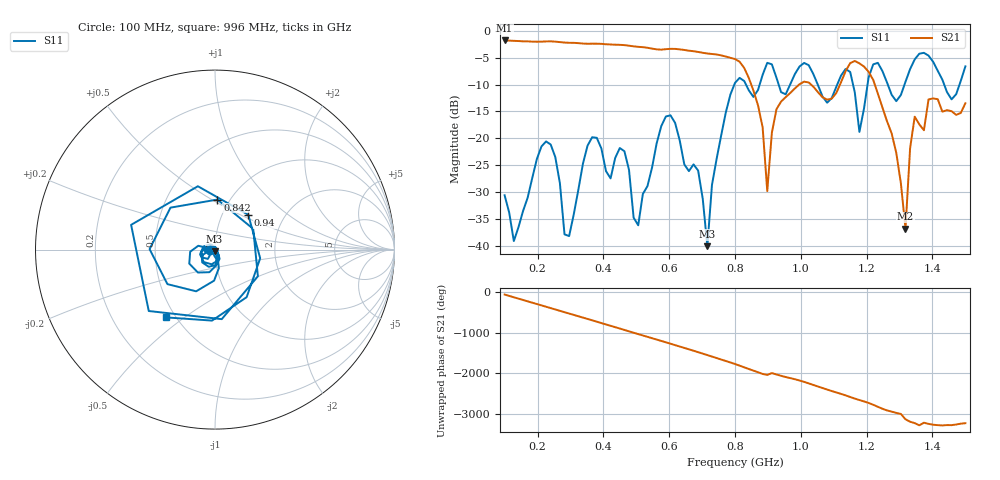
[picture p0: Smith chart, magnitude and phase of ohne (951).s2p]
! NanoVNA-App
! Date: 2025-09-25 14:28:12
! Start: 100MHz Stop: 1,5GHz Points: 101
! S-Parameter data: F S11 S21 S12 S22
# Hz S RI R 50
!  Frequency  S11_Real  S11_Imag  S21_Real  S21_Imag  S12_Real  S12_Imag  S22_Real  S22_Imag
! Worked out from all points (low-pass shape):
!   101 points, 100 MHz to 1.5 GHz, reference 50 ohm
!   highest |S21| = -1.79 dB at 100 MHz (marker M1); lowest = -36.8 dB at 1.318 GHz (marker M2)
!   |S21| within 3 dB of the highest: start of sweep to 772 MHz
!   lowest |S11| = -40.1 dB at 716 MHz (marker M3), VSWR 1.02, Z = 49.7 - j0.944 ohm
!   |S11| at or under -10 dB: start of sweep to 798 MHz; 833.3 MHz to 875 MHz (41.77 MHz wide, 4.89 % of centre); 1.051 GHz to 1.111 GHz (59.39 MHz wide, 5.49 % of centre) (the widest 3 of 7)
!   S12 and S22 are empty: the file has one direction only
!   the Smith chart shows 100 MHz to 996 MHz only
!   S11 on the Smith chart (normalised r, x): 100 MHz: 0.94, -0.01; 842 MHz: 0.88, +0.53; 940 MHz: 1.32, +0.55; 996 MHz: 0.45, -0.43
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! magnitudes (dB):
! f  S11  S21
! 100 MHz  -30.6  -1.8
! 128 MHz  -39.2  -1.9
! 226 MHz  -20.6  -2.0
! 296 MHz  -38.2  -2.2
! 338 MHz  -24.7  -2.4
! 464 MHz  -22.4  -2.7
! 506 MHz  -36.2  -3.0
! 576 MHz  -17.7  -3.5
! 688 MHz  -26.0  -3.9
! 716 MHz  -40.1  -4.2
! 800 MHz  -9.7  -5.2
! 842 MHz  -11.1  -8.8
! 898 MHz  -6.0  -29.9
! 940 MHz  -11.4  -13.2
! 996 MHz  -6.7  -10.0
! 1.038 GHz  -8.1  -10.4
! 1.178 GHz  -18.8  -6.1
! 1.22 GHz  -6.2  -9.2
! 1.276 GHz  -11.9  -19.1
! 1.318 GHz  -9.5  -36.8
! 1.346 GHz  -5.3  -16.0
! 1.5 GHz  -6.6  -13.5
